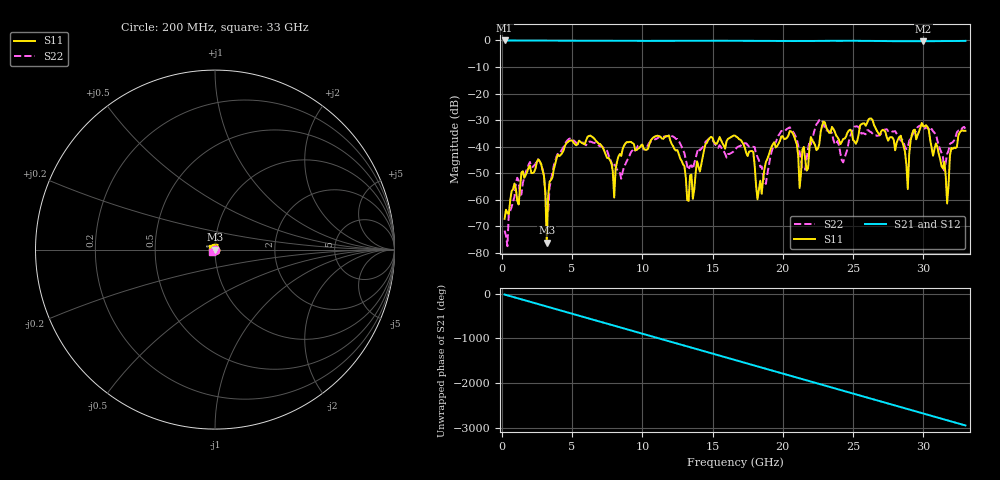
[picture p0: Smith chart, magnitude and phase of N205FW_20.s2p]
# GHZ S RI R 50
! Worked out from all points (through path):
!   329 points, 200 MHz to 33 GHz, reference 50 ohm
!   highest |S21| = -0.03 dB at 200 MHz (marker M1); lowest = -0.3 dB at 30 GHz (marker M2)
!   group delay of S21, straight-line fit = 248 ps
!   lowest |S11| = -76.1 dB at 3.2 GHz (marker M3), VSWR 1.00, Z = 50 + j0.0155 ohm
!   |S11| at or under -10 dB: start of sweep to end of sweep
!   |S22| runs from -77.5 to -29.7 dB; largest |S21 - S12| = 0.0022
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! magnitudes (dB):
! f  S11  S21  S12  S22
! 200 MHz  -67.2  0.0  0.0  -71.6
! 2.6 GHz  -44.8  -0.1  -0.1  -44.8
! 3 GHz  -51.0  -0.1  -0.1  -51.0
! 3.2 GHz  -76.1  -0.1  -0.1  -65.6
! 3.9 GHz  -44.4  -0.1  -0.1  -43.6
! 5.7 GHz  -38.6  -0.1  -0.1  -38.5
! 8 GHz  -59.2  -0.1  -0.1  -46.6
! 8.8 GHz  -38.8  -0.1  -0.1  -46.6
! 11.2 GHz  -36.1  -0.2  -0.2  -36.4
! 13.3 GHz  -60.4  -0.1  -0.1  -48.7
! 16.6 GHz  -35.8  -0.2  -0.2  -41.2
! 18.2 GHz  -59.8  -0.2  -0.2  -43.9
! 19.4 GHz  -38.3  -0.2  -0.2  -38.7
! 20.7 GHz  -34.9  -0.2  -0.2  -34.3
! 21.2 GHz  -55.6  -0.2  -0.2  -42.0
! 22.1 GHz  -37.6  -0.2  -0.2  -37.5
! 27.6 GHz  -36.6  -0.3  -0.3  -34.0
! 28.9 GHz  -56.0  -0.3  -0.3  -40.1
! 30 GHz  -32.3  -0.3  -0.3  -33.1
! 31.7 GHz  -61.4  -0.2  -0.2  -42.8
! 32 GHz  -40.5  -0.3  -0.3  -38.7
! 33 GHz  -34.0  -0.2  -0.2  -33.2
